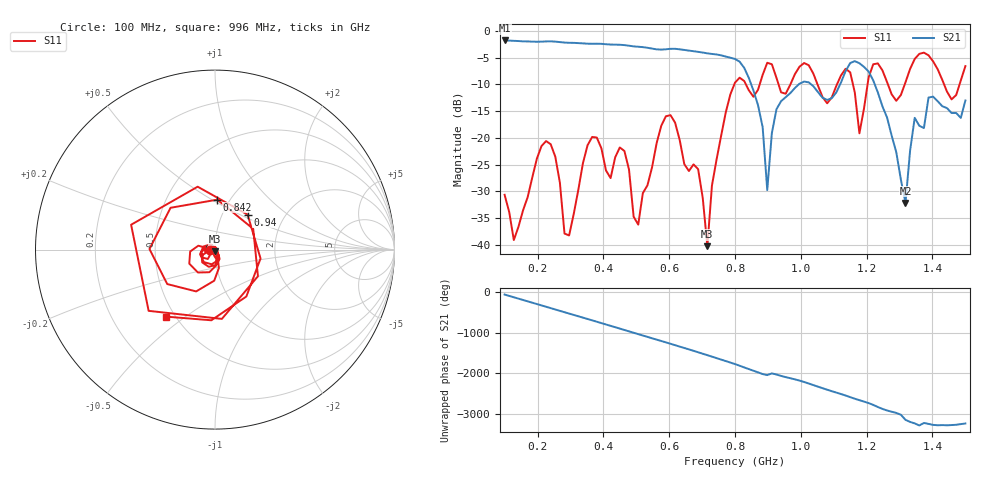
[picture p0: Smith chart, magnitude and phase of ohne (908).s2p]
! NanoVNA-App
! Date: 2025-09-25 14:27:52
! Start: 100MHz Stop: 1,5GHz Points: 101
! S-Parameter data: F S11 S21 S12 S22
# Hz S RI R 50
!  Frequency  S11_Real  S11_Imag  S21_Real  S21_Imag  S12_Real  S12_Imag  S22_Real  S22_Imag
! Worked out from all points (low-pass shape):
!   101 points, 100 MHz to 1.5 GHz, reference 50 ohm
!   highest |S21| = -1.79 dB at 100 MHz (marker M1); lowest = -32.2 dB at 1.318 GHz (marker M2)
!   |S21| within 3 dB of the highest: start of sweep to 771.3 MHz
!   lowest |S11| = -40.2 dB at 716 MHz (marker M3), VSWR 1.02, Z = 49.9 - j0.963 ohm
!   |S11| at or under -10 dB: start of sweep to 797.9 MHz; 833.1 MHz to 875.1 MHz (41.96 MHz wide, 4.91 % of centre); 1.051 GHz to 1.11 GHz (59.22 MHz wide, 5.48 % of centre) (the widest 3 of 7)
!   S12 and S22 are empty: the file has one direction only
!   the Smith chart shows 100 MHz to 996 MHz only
!   S11 on the Smith chart (normalised r, x): 100 MHz: 0.94, -0.01; 842 MHz: 0.88, +0.53; 940 MHz: 1.31, +0.55; 996 MHz: 0.45, -0.42
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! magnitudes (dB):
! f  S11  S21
! 100 MHz  -30.6  -1.8
! 128 MHz  -39.1  -1.9
! 226 MHz  -20.6  -2.0
! 296 MHz  -38.2  -2.2
! 338 MHz  -24.7  -2.3
! 464 MHz  -22.4  -2.7
! 506 MHz  -36.2  -3.0
! 576 MHz  -17.7  -3.5
! 688 MHz  -25.8  -3.9
! 716 MHz  -40.2  -4.2
! 800 MHz  -9.7  -5.2
! 842 MHz  -11.1  -8.8
! 898 MHz  -6.0  -29.8
! 940 MHz  -11.5  -13.1
! 996 MHz  -6.7  -9.9
! 1.038 GHz  -8.0  -10.3
! 1.178 GHz  -19.1  -6.1
! 1.22 GHz  -6.2  -9.3
! 1.276 GHz  -11.9  -19.6
! 1.318 GHz  -9.6  -32.2
! 1.346 GHz  -5.3  -16.2
! 1.5 GHz  -6.6  -13.0
